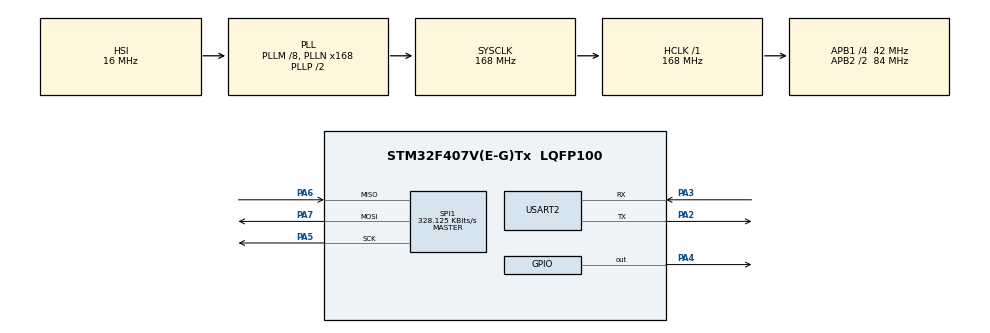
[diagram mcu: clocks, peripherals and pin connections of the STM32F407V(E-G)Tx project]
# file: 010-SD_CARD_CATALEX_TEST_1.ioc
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Mcu.Family=STM32F4
Mcu.Name=STM32F407V(E-G)Tx
Mcu.Package=LQFP100
NVIC.PriorityGroup=NVIC_PRIORITYGROUP_0
PA2.Mode=Asynchronous
PA2.Signal=USART2_TX
PA3.Mode=Asynchronous
PA3.Signal=USART2_RX
PA4.Signal=GPIO_Output
PA5.Mode=Full_Duplex_Master
PA5.Signal=SPI1_SCK
PA6.Mode=Full_Duplex_Master
PA6.Signal=SPI1_MISO
PA7.Mode=Full_Duplex_Master
PA7.Signal=SPI1_MOSI
ProjectManager.HeapSize=0x200
ProjectManager.StackSize=0x400
ProjectManager.TargetToolchain=STM32CubeIDE
RCC.48MHZClocksFreq_Value=48000000
RCC.AHBFreq_Value=168000000
RCC.APB1CLKDivider=RCC_HCLK_DIV4
RCC.APB1Freq_Value=42000000
RCC.APB1TimFreq_Value=84000000
RCC.APB2CLKDivider=RCC_HCLK_DIV2
RCC.APB2Freq_Value=84000000
RCC.APB2TimFreq_Value=168000000
RCC.CortexFreq_Value=168000000
RCC.HCLKFreq_Value=168000000
RCC.HSE_VALUE=8000000
RCC.HSI_VALUE=16000000
RCC.PLLM=8
RCC.PLLN=168
RCC.PLLQ=7
RCC.SYSCLKFreq_VALUE=168000000
RCC.SYSCLKSource=RCC_SYSCLKSOURCE_PLLCLK
RCC.VCOOutputFreq_Value=336000000
SPI1.BaudRatePrescaler=SPI_BAUDRATEPRESCALER_256
SPI1.CalculateBaudRate=328.125 KBits/s
SPI1.Direction=SPI_DIRECTION_2LINES
SPI1.Mode=SPI_MODE_MASTER
SPI1.VirtualType=VM_MASTER
USART2.VirtualMode=VM_ASYNC
board=STM32F407G-DISC1

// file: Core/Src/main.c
/* USER CODE BEGIN Header */
/**
  ******************************************************************************
  * @file           : main.c
  * @brief          : Main program body
  ******************************************************************************
  * @attention
  *
  * Copyright (c) 2025 STMicroelectronics.
  * All rights reserved.
  *
  * This software is licensed under terms that can be found in the LICENSE file
  * in the root directory of this software component.
  * If no LICENSE file comes with this software, it is provided AS-IS.
  *
  ******************************************************************************
  */
/* USER CODE END Header */
#include "main.h"

SPI_HandleTypeDef hspi1;

UART_HandleTypeDef huart2;

void SystemClock_Config(void);
static void MX_GPIO_Init(void);
static void MX_SPI1_Init(void);
static void MX_USART2_UART_Init(void);

/* USER CODE BEGIN 0 */

FIL myFile;

int _write(int file, char *ptr, int len) {
    HAL_UART_Transmit(&huart2, (uint8_t*)ptr, len, HAL_MAX_DELAY);
    return len;
}

/* USER CODE END 0 */

int main(void)
{

  /* MCU Configuration--------------------------------------------------------*/

  /* Reset of all peripherals, Initializes the Flash interface and the Systick. */
  HAL_Init();

  /* Configure the system clock */
  SystemClock_Config();

  /* Initialize all configured peripherals */
  MX_GPIO_Init();
  MX_SPI1_Init();
  MX_USART2_UART_Init();
  /* USER CODE BEGIN 2 */
  MX_FATFS_Init();

  printf("SD Card SPI Test\r\n");

  if(f_mount(&SDFatFS, "", 1) == FR_OK) {
      printf("SD Mount OK\r\n");

      if(f_open(&myFile, "test.txt", FA_WRITE | FA_CREATE_ALWAYS) == FR_OK) {
          printf("File Open OK\r\n");
          UINT bw;
          char text[] = "Hello STM32 SPI SD!\r\n";
          f_write(&myFile, text, sizeof(text)-1, &bw);
          f_close(&myFile);
          printf("Write OK, Bytes: %lu\r\n", bw);
      } else {
          printf("File Open Failed!\r\n");
      }
  } else {
      printf("SD Mount Failed!\r\n");
  }
  /* USER CODE END 2 */

  /* Infinite loop */
  while (1)
  {

  }
}

void SystemClock_Config(void)
{
  RCC_OscInitTypeDef RCC_OscInitStruct = {0};
  RCC_ClkInitTypeDef RCC_ClkInitStruct = {0};

  /** Configure the main internal regulator output voltage
  */
  __HAL_RCC_PWR_CLK_ENABLE();
  __HAL_PWR_VOLTAGESCALING_CONFIG(PWR_REGULATOR_VOLTAGE_SCALE1);

  /** Initializes the RCC Oscillators according to the specified parameters
  * in the RCC_OscInitTypeDef structure.
  */
  RCC_OscInitStruct.OscillatorType = RCC_OSCILLATORTYPE_HSI;
  RCC_OscInitStruct.HSIState = RCC_HSI_ON;
  RCC_OscInitStruct.HSICalibrationValue = RCC_HSICALIBRATION_DEFAULT;
  RCC_OscInitStruct.PLL.PLLState = RCC_PLL_ON;
  RCC_OscInitStruct.PLL.PLLSource = RCC_PLLSOURCE_HSI;
  RCC_OscInitStruct.PLL.PLLM = 8;
  RCC_OscInitStruct.PLL.PLLN = 168;
  RCC_OscInitStruct.PLL.PLLP = RCC_PLLP_DIV2;
  RCC_OscInitStruct.PLL.PLLQ = 7;
  if (HAL_RCC_OscConfig(&RCC_OscInitStruct) != HAL_OK)
  {
    Error_Handler();
  }

  /** Initializes the CPU, AHB and APB buses clocks
  */
  RCC_ClkInitStruct.ClockType = RCC_CLOCKTYPE_HCLK|RCC_CLOCKTYPE_SYSCLK
                              |RCC_CLOCKTYPE_PCLK1|RCC_CLOCKTYPE_PCLK2;
  RCC_ClkInitStruct.SYSCLKSource = RCC_SYSCLKSOURCE_PLLCLK;
  RCC_ClkInitStruct.AHBCLKDivider = RCC_SYSCLK_DIV1;
  RCC_ClkInitStruct.APB1CLKDivider = RCC_HCLK_DIV4;
  RCC_ClkInitStruct.APB2CLKDivider = RCC_HCLK_DIV2;

  if (HAL_RCC_ClockConfig(&RCC_ClkInitStruct, FLASH_LATENCY_5) != HAL_OK)
  {
    Error_Handler();
  }
}

static void MX_SPI1_Init(void)
{

  /* SPI1 parameter configuration*/
  hspi1.Instance = SPI1;
  hspi1.Init.Mode = SPI_MODE_MASTER;
  hspi1.Init.Direction = SPI_DIRECTION_2LINES;
  hspi1.Init.DataSize = SPI_DATASIZE_8BIT;
  hspi1.Init.CLKPolarity = SPI_POLARITY_LOW;
  hspi1.Init.CLKPhase = SPI_PHASE_1EDGE;
  hspi1.Init.NSS = SPI_NSS_SOFT;
  hspi1.Init.BaudRatePrescaler = SPI_BAUDRATEPRESCALER_256;
  hspi1.Init.FirstBit = SPI_FIRSTBIT_MSB;
  hspi1.Init.TIMode = SPI_TIMODE_DISABLE;
  hspi1.Init.CRCCalculation = SPI_CRCCALCULATION_DISABLE;
  hspi1.Init.CRCPolynomial = 10;
  if (HAL_SPI_Init(&hspi1) != HAL_OK)
  {
    Error_Handler();
  }

}

static void MX_USART2_UART_Init(void)
{

  huart2.Instance = USART2;
  huart2.Init.BaudRate = 115200;
  huart2.Init.WordLength = UART_WORDLENGTH_8B;
  huart2.Init.StopBits = UART_STOPBITS_1;
  huart2.Init.Parity = UART_PARITY_NONE;
  huart2.Init.Mode = UART_MODE_TX_RX;
  huart2.Init.HwFlowCtl = UART_HWCONTROL_NONE;
  huart2.Init.OverSampling = UART_OVERSAMPLING_16;
  if (HAL_UART_Init(&huart2) != HAL_OK)
  {
    Error_Handler();
  }

}

static void MX_GPIO_Init(void)
{
  GPIO_InitTypeDef GPIO_InitStruct = {0};

  /* GPIO Ports Clock Enable */
  __HAL_RCC_GPIOA_CLK_ENABLE();

  /*Configure GPIO pin Output Level */
  HAL_GPIO_WritePin(GPIOA, GPIO_PIN_4, GPIO_PIN_RESET);

  /*Configure GPIO pin : PA4 */
  GPIO_InitStruct.Pin = GPIO_PIN_4;
  GPIO_InitStruct.Mode = GPIO_MODE_OUTPUT_PP;
  GPIO_InitStruct.Pull = GPIO_NOPULL;
  GPIO_InitStruct.Speed = GPIO_SPEED_FREQ_LOW;
  HAL_GPIO_Init(GPIOA, &GPIO_InitStruct);

}

void Error_Handler(void)
{
  __disable_irq();
  while (1)
  {
  }
}
